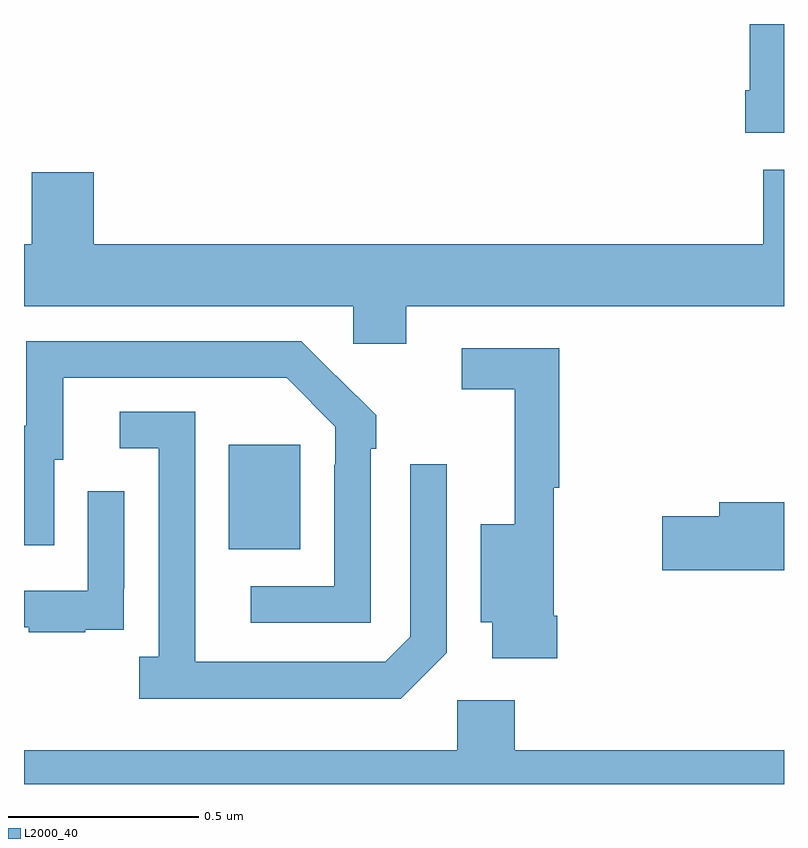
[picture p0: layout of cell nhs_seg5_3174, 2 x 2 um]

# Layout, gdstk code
import gdstk
lib = gdstk.Library(unit=1e-6, precision=1e-09)
def R(c, l, rs):  # rectangles x0, y0, x1, y1
    for r in rs: c.add(gdstk.rectangle(r[:2], r[2:], *l))
def P(c, l, *ps):  # polygons
    for p in ps: c.add(gdstk.Polygon(p, *l))
L2000_40 = (2000, 40)

nhs_seg5_3174 = lib.new_cell('nhs_seg5_3174')
R(nhs_seg5_3174, L2000_40, [(153.539,893.417,153.727,893.692)])
P(nhs_seg5_3174, L2000_40, [(155,894.799),(154.91,894.799),(154.91,894.625),(154.898,894.625),(154.898,894.513),(155,894.513)],
  [(154.006,894.056),(155,894.056),(155,894.415),(154.946,894.415),(154.946,894.22),(153.184,894.22),(153.184,894.409),(153.02,894.409),(153.02,894.22),(153,894.22),(153,894.056),(153.867,894.056),(153.867,893.958),(154.006,893.958)],
  [(153.912,893.681),(153.927,893.681),(153.927,893.769),(153.822,893.874),(153.821,893.873),(153.73,893.964),(153.006,893.964),(153.006,893.742),(153,893.742),(153,893.427),(153.079,893.427),(153.079,893.652),(153.103,893.652),(153.103,893.868),(153.691,893.868),(153.819,893.739),(153.819,893.639),(153.816,893.639),(153.816,893.319),(153.597,893.319),(153.597,893.223),(153.912,893.223)],
  [(154.403,893.242),(154.394,893.242),(154.394,893.578),(154.409,893.578),(154.409,893.946),(154.152,893.946),(154.152,893.838),(154.292,893.838),(154.292,893.482),(154.202,893.482),(154.202,893.225),(154.232,893.225),(154.232,893.13),(154.403,893.13)],
  [(154.113,893.145),(154.113,893.641),(154.017,893.641),(154.017,893.187),(153.951,893.121),(153.451,893.121),(153.451,893.321),(153.45,893.321),(153.45,893.778),(153.252,893.778),(153.252,893.682),(153.354,893.682),(153.354,893.134),(153.303,893.134),(153.303,893.024),(153.992,893.024)],
  [(153.161,893.205),(153.263,893.205),(153.263,893.314),(153.264,893.314),(153.264,893.569),(153.168,893.569),(153.168,893.307),(153,893.307),(153,893.211),(153.013,893.211),(153.013,893.199),(153.161,893.199)],
  [(155,893.54),(154.829,893.54),(154.829,893.504),(154.68,893.504),(154.68,893.362),(155,893.362)],
  [(155,892.888),(154.292,892.888),(154.292,893.02),(154.14,893.02),(154.14,892.888),(153,892.888),(153,892.799),(155,892.799)])

lib.write_gds('nhs_seg5_3174.gds')
